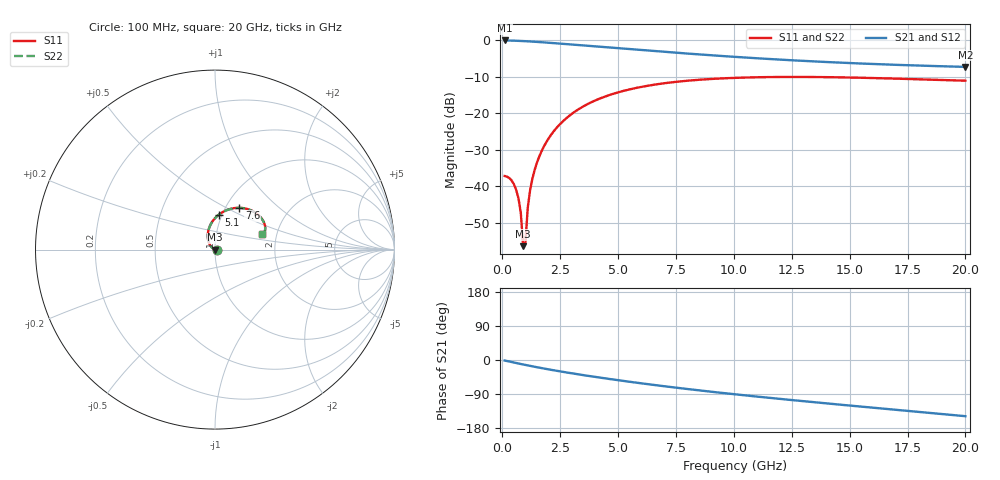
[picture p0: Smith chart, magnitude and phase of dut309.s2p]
! Touchstone file exported from HFSS 2024.1.0
!  File:  C:/UserFiles/LocalFiles/RDL_TSV_Batchsim/temp_RDL_TSV_309_1779627056.aedt
!  Generated:  09:03:22 PM May 24, 2026
!  Design:  RDL_TSV
!  Project:  temp_RDL_TSV_309_1779627056
!  Setup:  Setup1
!  Solution:  Sweep
! Variables:
!  dtsv = 9.27um
!  hbump = 3um
!  htsv = 78.54um
!  ldown = 418.6um
!  lrdl = 154.47um
!  p = 40
!  p1 = 44.9um
!  rhole = 10um
!  subl = 1873.68um
!  t = 450um
!  tdown = 3.37um
!  trdl = 2.29um
!  viad = 10um
!  wdown = 14.51um
!  wrdl = 24.75um
!  xbump = 18um
# GHz S MA R 50.000000
! Terminal data exported
! Port[1] = TM1_1_T1
! Port[2] = TM1_4_T1
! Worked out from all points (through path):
!   200 points, 100 MHz to 20 GHz, reference 50 ohm
!   highest |S21| = -0.12 dB at 100 MHz (marker M1); lowest = -7.4 dB at 20 GHz (marker M2)
!   group delay of S21, straight-line fit = 19.4 ps
!   lowest |S11| = -56.4 dB at 900 MHz (marker M3), VSWR 1.00, Z = 50.1 - j0.083 ohm
!   |S11| at or under -10 dB: start of sweep to end of sweep
!   |S22| runs from -56.3 to -10.1 dB; largest |S21 - S12| = 8.6e-15
!   S11 on the Smith chart (normalised r, x): 100 MHz: 1.03, -0.00; 5.1 GHz: 0.97, +0.39; 7.6 GHz: 1.16, +0.58; 20 GHz: 1.68, +0.31
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0.1  0.01382 -1.1  0.9857 -1.4  0.9857 -1.4  0.01382 -1.1
! Gamma 0 0 0 0
! Port Impedance 50 0 50 0
0.4  0.01203 -7.2  0.9814 -5.4  0.9814 -5.4  0.01204 -7.2
0.6  0.008935 -13.2  0.9765 -8.0  0.9765 -8.0  0.008942 -13.2
0.7  0.006803 -16.7  0.9737 -9.3  0.9737 -9.3  0.006813 -16.8
0.8  0.004314 -21.3  0.9706 -10.6  0.9706 -10.6  0.004328 -21.3
0.9  0.001515 -33.1  0.9672 -11.8  0.9672 -11.8  0.001532 -33.0
1  0.001704 170.2  0.9635 -13.1  0.9635 -13.1  0.001684 170.4
1.1  0.005098 159.3  0.9596 -14.3  0.9596 -14.3  0.005073 159.4
1.2  0.008774 155.0  0.9555 -15.5  0.9555 -15.5  0.008744 155.0
1.4  0.01683 148.8  0.9468 -17.9  0.9468 -17.9  0.01678 148.7
1.6  0.02566 143.4  0.9375 -20.3  0.9375 -20.3  0.02561 143.4
2  0.04504 133.9  0.9178 -24.8  0.9178 -24.8  0.04496 133.9
2.4  0.0658 125.4  0.8974 -29.0  0.8974 -29.0  0.06569 125.4
2.9  0.09237 115.8  0.8719 -34.1  0.8719 -34.1  0.09222 115.7
3.5  0.1236 105.6  0.842 -39.9  0.842 -39.9  0.1234 105.5
5.1  0.1962 83.7  0.7675 -54.1  0.7675 -54.1  0.1959 83.6
6.8  0.2513 66.3  0.6967 -67.8  0.6967 -67.8  0.2509 66.3
7.6  0.2699 59.6  0.6666 -73.7  0.6666 -73.7  0.2694 59.6
10.1  0.304 43.3  0.5863 -90.8  0.5863 -90.8  0.3034 43.2
13.4  0.312 29.0  0.5106 -111.0  0.5106 -111.0  0.3114 29.0
16.7  0.2981 20.9  0.4611 -129.8  0.4611 -129.8  0.2974 20.8
20  0.2776 18.0  0.4289 -148.3  0.4289 -148.3  0.2769 17.9
